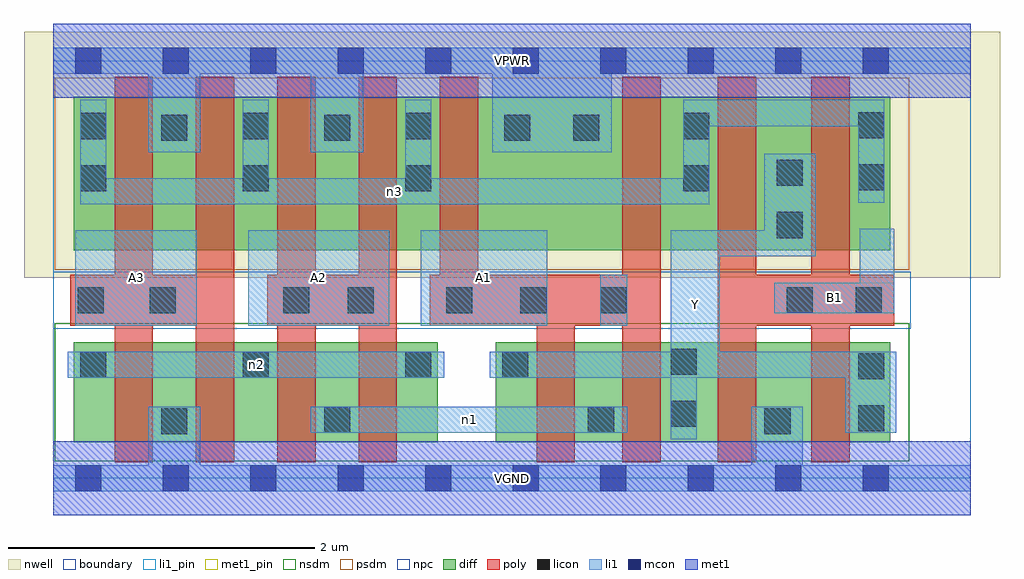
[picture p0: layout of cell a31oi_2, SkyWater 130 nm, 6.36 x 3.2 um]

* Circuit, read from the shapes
.subckt a31oi_2 A1 A2 A3 B1 VGND VPWR Y n1 n2 n3
XM1 VGND A3 n2 VSUBS sky130_fd_pr__nfet_01v8 w=0.65 l=0.25 m=2
XM2 n1 A2 n2 VSUBS sky130_fd_pr__nfet_01v8 w=0.65 l=0.25 m=2
XM3 n1 A1 Y VSUBS sky130_fd_pr__nfet_01v8 w=0.65 l=0.25 m=2
XM4 VGND B1 Y VSUBS sky130_fd_pr__nfet_01v8 w=0.65 l=0.25 m=2
XM5 VPWR A3 n3 n4 sky130_fd_pr__pfet_01v8 w=1 l=0.25 m=2
XM6 VPWR A2 n3 n4 sky130_fd_pr__pfet_01v8 w=1 l=0.25 m=2
XM7 VPWR A1 n3 n4 sky130_fd_pr__pfet_01v8 w=1 l=0.25 m=2
XM8 Y B1 n3 n4 sky130_fd_pr__pfet_01v8 w=1 l=0.25 m=2
.ends

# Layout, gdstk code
import gdstk
lib = gdstk.Library(unit=1e-6, precision=1e-09)
def R(c, l, rs):  # rectangles x0, y0, x1, y1
    for r in rs: c.add(gdstk.rectangle(r[:2], r[2:], *l))
def A(c, l, x, y, w, h, nx, ny, dx, dy):  # array of equal rectangles
    R(c, l, [(x+i*dx, y+j*dy, x+i*dx+w, y+j*dy+h) for i in range(nx) for j in range(ny)])
nwell = (64, 20)
diff = (65, 20)
poly = (66, 20)
licon = (66, 44)
li1_pin = (67, 16)
li1 = (67, 20)
mcon = (67, 44)
met1_pin = (68, 16)
met1 = (68, 20)
nsdm = (93, 44)
psdm = (94, 20)
npc = (95, 20)
boundary = (235, 4)

a31oi_2 = lib.new_cell('a31oi_2')
R(a31oi_2, nwell, [(-0.19,1.305,6.17,2.91), (0,1.305,5.98,2.91)])
R(a31oi_2, diff, [(0.135,0.235,2.505,0.885), (2.885,0.235,5.455,0.885), (0.135,1.485,5.455,2.485)])
A(a31oi_2, poly, 0.4, 0.105, 0.25, 2.51, 4, 1, 0.53, 0)
R(a31oi_2, poly, [(3.15,0.105,3.4,1.325), (3.71,0.105,3.96,2.615), (4.33,0.105,4.58,2.615), (4.94,0.105,5.19,2.615), (0.11,0.995,1.18,1.325), (1.395,0.995,2.24,1.325), (2.455,0.995,3.96,1.325), (2.52,0.995,2.77,2.615), (4.33,0.995,5.48,1.325)])
A(a31oi_2, licon, 0.175, 0.655, 0.17, 0.17, 3, 2, 1.06, 1.215)
A(a31oi_2, licon, 0.175, 2.21, 0.17, 0.17, 3, 1, 1.06, 0)
R(a31oi_2, licon, [(0.705,0.285,0.875,0.455), (4.635,0.285,4.805,0.455), (1.765,0.295,1.935,0.465), (3.485,0.295,3.655,0.465), (5.245,0.305,5.415,0.475), (4.025,0.335,4.195,0.505), (5.245,0.645,5.415,0.815), (2.925,0.655,3.095,0.825), (4.025,0.675,4.195,0.845), (0.16,1.075,0.33,1.245), (0.63,1.075,0.8,1.245), (1.5,1.075,1.67,1.245), (1.92,1.075,2.09,1.245), (2.56,1.075,2.73,1.245), (3.045,1.075,3.215,1.245), (3.565,1.075,3.735,1.245), (4.78,1.075,4.95,1.245), (5.23,1.075,5.4,1.245), (4.715,1.565,4.885,1.735), (4.105,1.87,4.275,2.04), (5.245,1.875,5.415,2.045), (4.715,1.905,4.885,2.075), (0.705,2.2,0.875,2.37), (1.765,2.2,1.935,2.37), (2.94,2.2,3.11,2.37), (3.39,2.2,3.56,2.37), (4.105,2.21,4.275,2.38), (5.245,2.215,5.415,2.385)])
R(a31oi_2, li1_pin, [(4.025,0.655,4.345,1.615), (0.145,0.995,0.935,1.615), (1.27,0.995,2.19,1.615), (2.395,0.995,3.22,1.615), (4.7,1.075,5.48,1.275)])
A(a31oi_2, li1, 0.175, 1.785, 0.17, 0.68, 3, 1, 1.06, 0)
R(a31oi_2, li1, [(0,-0.085,5.98,0.085), (0.62,-0.085,0.96,0.465), (4.55,-0.085,4.885,0.465), (4.025,0.255,4.195,1.615), (1.68,0.295,3.74,0.465), (5.16,0.295,5.495,0.825), (0.095,0.655,2.55,0.825), (2.845,0.655,5.495,0.825), (4.025,0.655,4.345,1.615), (0.145,0.995,0.935,1.615), (1.27,0.995,2.19,1.615), (2.395,0.995,3.22,1.615), (3.565,0.995,3.74,1.325), (4.7,1.075,5.48,1.275), (5.255,1.075,5.48,1.625), (4.025,1.445,4.97,1.615), (4.635,1.445,4.97,2.115), (0.175,1.785,4.275,1.955), (4.105,1.785,4.275,2.465), (5.245,1.795,5.415,2.465), (0.62,2.125,0.96,2.805), (1.68,2.125,2.02,2.805), (2.86,2.125,3.64,2.805), (4.105,2.295,5.415,2.465), (0,2.635,5.98,2.805)])
A(a31oi_2, mcon, 0.145, -0.085, 0.17, 0.17, 10, 2, 0.57, 2.72)
R(a31oi_2, met1_pin, [(0,-0.24,5.98,0.24), (0,2.48,5.98,2.96)])
R(a31oi_2, met1, [(0,-0.24,5.98,0.24), (0,2.48,5.98,2.96)])
R(a31oi_2, nsdm, [(0.01,0.11,5.58,1.01)])
R(a31oi_2, psdm, [(0.01,1.36,5.58,2.61)])
R(a31oi_2, npc, [(0,0.975,5.59,1.345)])
R(a31oi_2, boundary, [(0,0,5.98,2.72)])
a31oi_2.add(gdstk.Label('A1', (2.807,1.305), layer=67, texttype=5))
a31oi_2.add(gdstk.Label('A2', (1.73,1.305), layer=67, texttype=5))
a31oi_2.add(gdstk.Label('A3', (0.54,1.305), layer=67, texttype=5))
a31oi_2.add(gdstk.Label('B1', (5.09,1.175), layer=67, texttype=5))
a31oi_2.add(gdstk.Label('Y', (4.185,1.135), layer=67, texttype=5))
a31oi_2.add(gdstk.Label('n1', (2.71,0.38), layer=67, texttype=5))
a31oi_2.add(gdstk.Label('n2', (1.322,0.74), layer=67, texttype=5))
a31oi_2.add(gdstk.Label('n3', (2.225,1.87), layer=67, texttype=5))
a31oi_2.add(gdstk.Label('VPWR', (2.99,2.72), layer=68, texttype=5))
a31oi_2.add(gdstk.Label('VGND', (2.99,0), layer=68, texttype=5))
a31oi_2.add(gdstk.Label('A1', (2.807,1.305), layer=67, texttype=16))
a31oi_2.add(gdstk.Label('A2', (1.73,1.305), layer=67, texttype=16))
a31oi_2.add(gdstk.Label('A3', (0.54,1.305), layer=67, texttype=16))
a31oi_2.add(gdstk.Label('B1', (5.09,1.175), layer=67, texttype=16))
a31oi_2.add(gdstk.Label('Y', (4.185,1.135), layer=67, texttype=16))
a31oi_2.add(gdstk.Label('VPWR', (2.99,2.72), layer=68, texttype=16))
a31oi_2.add(gdstk.Label('VGND', (2.99,0), layer=68, texttype=16))

lib.write_gds('a31oi_2.gds')
